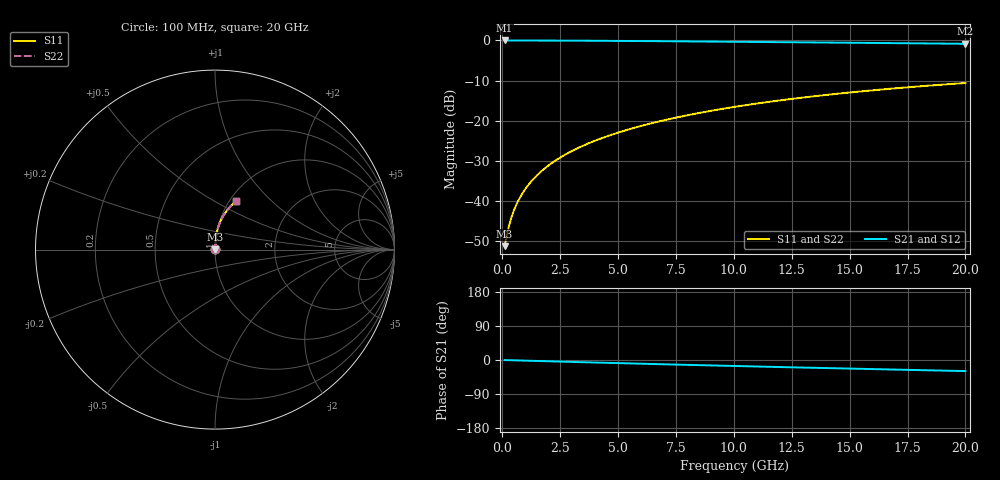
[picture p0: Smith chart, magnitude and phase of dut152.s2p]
! Touchstone file exported from HFSS 2024.1.0
!  File:  C:/UserFiles/LocalFiles/RDL_TSV_Batchsim/temp_RDL_top_152_1778685168.aedt
!  Generated:  11:15:09 PM May 13, 2026
!  Design:  RDL_top
!  Project:  temp_RDL_top_152_1778685168
!  Setup:  Setup1
!  Solution:  Sweep
! Variables:
!  dtsv = 10.80580581um
!  hbump = 3um
!  htsv = 68.17um
!  ldown = 100um
!  lrdl = 394.24um
!  p = 40
!  p1 = 47.02um
!  rhole = 1um
!  t = 450um
!  tdown = 3.915915916um
!  trdl = 3.27um
!  wdown = 15.38538539um
!  wrdl = 20.31um
# GHz S MA R 50.000000
! Terminal data exported
! Port[1] = Box2_T1
! Port[2] = Box2_T2
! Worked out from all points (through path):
!   200 points, 100 MHz to 20 GHz, reference 50 ohm
!   highest |S21| = -0.02 dB at 100 MHz (marker M1); lowest = -0.8 dB at 20 GHz (marker M2)
!   group delay of S21, straight-line fit = 4.03 ps
!   lowest |S11| = -51.2 dB at 100 MHz (marker M3), VSWR 1.01, Z = 50.2 + j0.152 ohm
!   |S11| at or under -10 dB: start of sweep to end of sweep
!   |S22| runs from -51.2 to -10.6 dB; largest |S21 - S12| = 4.4e-15
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0.1  0.002763 33.3  0.9977 -0.2  0.9977 -0.2  0.002763 33.3
! Gamma 0 0 0 0
! Port Impedance 50 0 50 0
0.2  0.003832 51.3  0.9976 -0.4  0.9976 -0.4  0.003832 51.3
0.3  0.005073 60.5  0.9975 -0.5  0.9975 -0.5  0.005073 60.5
0.4  0.006355 66.0  0.9973 -0.7  0.9973 -0.7  0.006355 65.9
0.5  0.007651 69.6  0.9972 -0.9  0.9972 -0.9  0.007651 69.6
0.6  0.008956 72.3  0.9971 -1.0  0.9971 -1.0  0.008956 72.3
0.8  0.01159 75.9  0.9969 -1.4  0.9969 -1.4  0.01159 75.9
1.1  0.01561 79.2  0.9965 -1.9  0.9965 -1.9  0.01561 79.2
1.3  0.01831 80.7  0.9962 -2.2  0.9962 -2.2  0.01831 80.7
1.6  0.02241 82.1  0.9957 -2.7  0.9957 -2.7  0.02241 82.1
2.1  0.02933 83.6  0.9948 -3.6  0.9948 -3.6  0.02933 83.6
2.7  0.03776 84.6  0.9933 -4.6  0.9933 -4.6  0.03776 84.6
3.5  0.04921 85.1  0.9909 -5.9  0.9909 -5.9  0.04921 85.1
4.2  0.05941 85.2  0.9884 -7.0  0.9884 -7.0  0.05941 85.2
5  0.07129 85.0  0.9853 -8.3  0.9853 -8.3  0.07129 85.0
5.9  0.08489 84.5  0.9814 -9.7  0.9814 -9.7  0.08489 84.5
6.8  0.0987 83.7  0.9772 -11.1  0.9772 -11.1  0.09869 83.7
8.4  0.1236 82.1  0.9694 -13.5  0.9694 -13.5  0.1235 82.1
10.1  0.1501 80.0  0.9607 -15.9  0.9607 -15.9  0.1501 80.0
13.4  0.2009 75.5  0.9434 -20.5  0.9434 -20.5  0.2009 75.5
16.7  0.2496 70.9  0.9255 -25.0  0.9255 -25.0  0.2496 70.9
20  0.2952 66.3  0.9072 -29.3  0.9072 -29.3  0.2952 66.3
